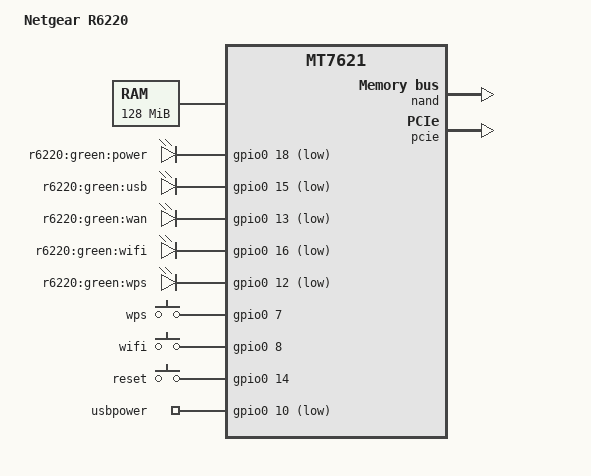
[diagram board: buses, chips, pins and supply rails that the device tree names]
/dts-v1/;

#include "mt7621.dtsi"

#include <dt-bindings/gpio/gpio.h>
#include <dt-bindings/input/input.h>

/ {
	model = "Netgear R6220";

	memory@0 {
		device_type = "memory";
		reg = <0x0 0x8000000>;
	};

	chosen {
		bootargs = "console=ttyS0,57600";
	};

	gpio-leds {
		compatible = "gpio-leds";

		power {
			label = "r6220:green:power";
			gpios = <&gpio0 18 GPIO_ACTIVE_LOW>;
		};

		usb {
			label = "r6220:green:usb";
			gpios = <&gpio0 15 GPIO_ACTIVE_LOW>;
		};

		internet {
			label = "r6220:green:wan";
			gpios = <&gpio0 13 GPIO_ACTIVE_LOW>;
		};

		wifi {
			label = "r6220:green:wifi";
			gpios = <&gpio0 16 GPIO_ACTIVE_LOW>;
		};

		wps {
			label = "r6220:green:wps";
			gpios = <&gpio0 12 GPIO_ACTIVE_LOW>;
		};
	};

	gpio-keys-polled {
		compatible = "gpio-keys-polled";
		#address-cells = <1>;
		#size-cells = <0>;
		poll-interval = <20>;

		wps {
			label = "wps";
			gpios = <&gpio0 7 GPIO_ACTIVE_HIGH>;
			linux,code = <KEY_WPS_BUTTON>;
		};

		wifi {
			label = "wifi";
			gpios = <&gpio0 8 GPIO_ACTIVE_HIGH>;
			linux,code = <KEY_RFKILL>;
		};

		reset {
			label = "reset";
			gpios = <&gpio0 14 GPIO_ACTIVE_HIGH>;
			linux,code = <KEY_RESTART>;
		};
	};

	gpio_export {
		compatible = "gpio-export";
		#size-cells = <0>;

		usbpower {
			gpio-export,name = "usbpower";
			gpio-export,output = <1>;
			gpios = <&gpio0 10 GPIO_ACTIVE_LOW>;
		};
	};
};

&nand {
	status = "okay";

	partition@0 {
		label = "u-boot";
		reg = <0x0 0x100000>;
		read-only;
	};

	partition@100000 {
		label = "SC PID";
		reg = <0x100000 0x100000>;
		read-only;
	};

	partition@200000 {
		label = "kernel";
		reg = <0x200000 0x400000>;
	};

	partition@600000 {
		label = "ubi";
		reg = <0x600000 0x1c00000>;
	};

	partition@2200000 {
		label = "ENG UI";
		reg = <0x2200000 0x200000>;
		read-only;
	};

	partition@2400000 {
		label = "ML1";
		reg = <0x2400000 0x200000>;
		read-only;
	};

	partition@2600000 {
		label = "ML2";
		reg = <0x2600000 0x200000>;
		read-only;
	};

	partition@2800000 {
		label = "ML3";
		reg = <0x2800000 0x200000>;
		read-only;
	};

	partition@2a00000 {
		label = "ML4";
		reg = <0x2a00000 0x200000>;
		read-only;
	};

	partition@2c00000 {
		label = "ML5";
		reg = <0x2c00000 0x200000>;
		read-only;
	};

	factory: partition@2e00000 {
		label = "factory";
		reg = <0x2de0000 0x100000>;
		read-only;
	};

	partition@2f00000 {
		label = "SC Private Data";
		reg = <0x2f00000 0x100000>;
		read-only;
	};

	partition@3000000 {
		label = "POT";
		reg = <0x3000000 0x200000>;
		read-only;
	};

	partition@3200000 {
		label = "Traffic Meter";
		reg = <0x3200000 0x200000>;
		read-only;
	};

	partition@3400000 {
		label = "DPF";
		reg = <0x3400000 0x200000>;
		read-only;
	};

	partition@3600000 {
		label = "SC Nvram";
		reg = <0x3600000 0x200000>;
		read-only;
	};

	partition@3800000 {
		label = "Ralink Nvram";
		reg = <0x3800000 0x200000>;
		read-only;
	};

	partition@3a00000 {
		label = "Ralink Reserved";
		reg = <0x3a00000 0x200000>;
		read-only;
	};

	partition@3c00000 {
		label = "ML6";
		reg = <0x3c00000 0x200000>;
		read-only;
	};

	partition@3e00000 {
		label = "Upgrade Flag";
		reg = <0x3e00000 0x100000>;
		read-only;
	};

	partition@4000000 {
		label = "Reserved Block3";
		reg = <0x4000000 0x200000>;
		read-only;
	};

	partition@4200000 {
		label = "Reserved Block4";
		reg = <0x4200000 0x3c00000>;
	};
};

&pcie {
	status = "okay";

	pcie0 {
		mt76@0,0 {
			reg = <0x0000 0 0 0 0>;
			device_type = "pci";
			mediatek,mtd-eeprom = <&factory 0x8000>;
			ieee80211-freq-limit = <5000000 6000000>;
		};
	};

	pcie1 {
		mt76@1,0 {
			reg = <0x0000 0 0 0 0>;
			device_type = "pci";
			mediatek,mtd-eeprom = <&factory 0x0000>;
			ieee80211-freq-limit = <2400000 2500000>;
		};
	};
};

&ethernet {
	mtd-mac-address = <&factory 0x00000004>;
};

&pinctrl {
	state_default: pinctrl0 {
		gpio {
			ralink,group = "uart3", "jtag";
			ralink,function = "gpio";
		};
	};
};
